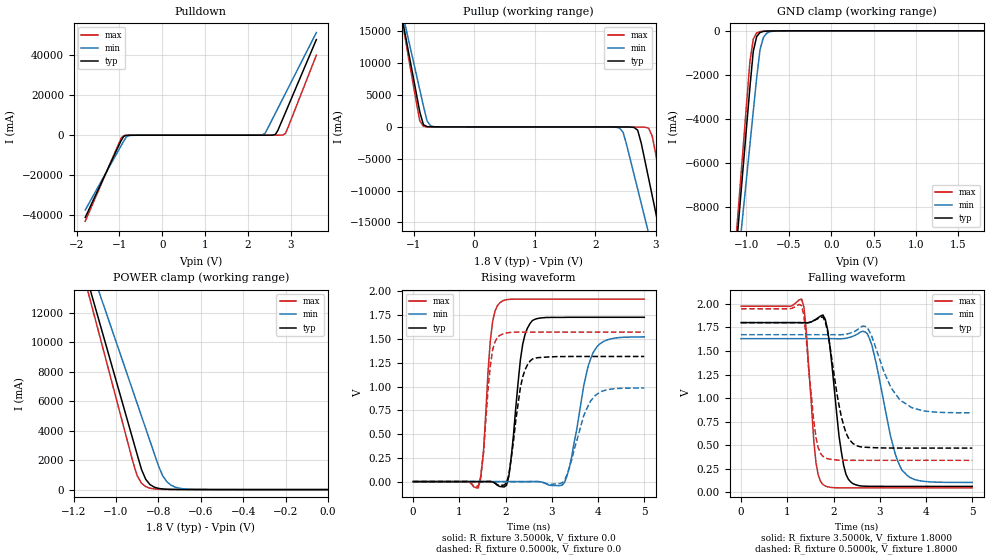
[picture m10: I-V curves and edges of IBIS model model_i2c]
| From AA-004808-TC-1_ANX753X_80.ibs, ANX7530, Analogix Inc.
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[Model]  model_i2c
Model_type I/O
Polarity   Non-Inverting
C_comp   2.3000pF   NA   NA
[Temperature Range]   27.0000   100.0000   0.0
[Voltage Range]   1.8000V   1.6200V   1.9800V
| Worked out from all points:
|   slope of the pulldown table from 0 to 0.27 V, typ, clamps not added: 151 ohm
|   slope of the pullup table from 0 to 0.27 V, typ, clamps not added: 162 ohm
|   GND clamp passes 1 mA (typ) near -0.52 V on its own axis
|   POWER clamp passes 1 mA (typ) near -0.46 V on its own axis
|   rising waveform, R_fixture 3.5000k, V_fixture 0.0: 20-80 % time 211ps typ, 343ps min, 153ps max; typ from 0 V to 1.73 V
|   rising waveform, R_fixture 0.5000k, V_fixture 0.0: 20-80 % time 222ps typ, 366ps min, 158ps max; typ from 0 V to 1.32 V
|   falling waveform, R_fixture 3.5000k, V_fixture 1.8000: 20-80 % time 233ps typ, 393ps min, 170ps max; typ from 1.8 V to 0.064 V
|   falling waveform, R_fixture 0.5000k, V_fixture 1.8000: 20-80 % time 277ps typ, 460ps min, 188ps max; typ from 1.8 V to 0.47 V
[GND_clamp]
|Voltage   I(typ)   I(min)   I(max)
-1.8V     -41.12A    -37.43A    -43.07A
-1.12V    -9.872A    -11.29A    -9.268A
-1.08V    -8.044A    -9.764A    -7.295A
-1.04V    -6.22A     -8.236A    -5.327A
-960mV    -2.582A    -5.185A    -1.419A
-920mV    -934.9mA   -3.663A    -373.7mA
-880mV    -262.2mA   -2.143A    -96.81mA
-840mV    -74.85mA   -850.4mA   -33.47mA
-800mV    -26.49mA   -296.9mA   -18.3mA
-760mV    -13.23mA   -101.8mA   -13.28mA
-720mV    -8.602mA   -36.43mA   -10.41mA
1.8V      80.55pA    1.559uA    -343.9pA
[POWER_clamp]
|Voltage   I(typ)   I(min)   I(max)
-1.8V     47.86A     43.79A     49.88A
-1.14V    14.49A     15.95A     13.86A
-1.12V    13.48A     15.11A     12.77A
-1.1V     12.47A     14.27A     11.68A
-1.08V    11.46A     13.42A     10.59A
-1.06V    10.45A     12.58A     9.498A
-920mV    3.374A     6.68A      1.858A
-900mV    2.363A     5.837A     932.5mA
-860mV    698.8mA    4.15A      200.8mA
-780mV    42.56mA    941.8mA    17.18mA
-720mV    9.978mA    163.4mA    9.221mA
0V        80.55pA    853.5pA    76.54pA
[Pulldown]
|Voltage   I(typ)   I(min)   I(max)
-1.8V     -41.12A    -37.43A    -43.08A
-960mV    -2.588A    -5.189A    -1.426A
-900mV    -506.2mA   -2.906A    -195.3mA
-840mV    -81.29mA   -854.3mA   -41.48mA
-720mV    -14.36mA   -40.27mA   -17.51mA
2.34V     5.808mA    165.4mA    5.824mA
2.4V      7.098mA    943.8mA    6.433mA
2.64V     347.4mA    10.9A      12.24mA
2.7V      2.367A     13.43A     14.74mA
2.82V     8.433A     18.49A     99.6mA
2.88V     11.46A     21.02A     938mA
3.6V      47.86A     51.38A     40.06A
[Pullup]
|Voltage   I(typ)   I(min)   I(max)
-1.8V     47.87A     43.8A      49.89A
-1.2V     17.53A     18.49A     17.14A
-1.14V    14.5A      15.96A     13.87A
-900mV    2.368A     5.841A     939.2mA
-840mV    349.4mA    3.31A      101.3mA
-660mV    10.2mA     32.31mA    12.82mA
2.4V      -7.253mA   -176.1mA   -6.56mA
2.7V      -504.2mA   -9.767A    -16.87mA
2.88V     -8.049A    -16.66A    -193.6mA
3.06V     -16.29A    -23.58A    -7.302A
3.24V     -24.56A    -30.5A     -16.2A
3.6V      -41.12A    -44.36A    -34.11A
[Ramp]
| variable   typ   min   max
dV/dt_r  0.1233/0.1438n   73.0200m/0.2140n   0.1844/0.1156n
dV/dt_f  0.1074/0.1798n   60.0000m/0.2567n   0.1632/0.1395n
R_load = 50.0000
[Rising Waveform]
R_fixture= 3.5000k
V_fixture= 0.0
|time   V(typ)   V(min)   V(max)
0s        0V         703.7nV    0V
1.41ns    -19.78uV   692.4nV    -65.26mV
1.67ns    897.2uV    700.8nV    1.486V
1.87ns    -50.97mV   1.211uV    1.878V
2.07ns    55.95mV    2.621uV    1.916V
2.37ns    1.445V     -20.72uV   1.919V
2.58ns    1.694V     488.1uV    1.919V
3.28ns    1.727V     -3.679mV   1.919V
3.99ns    1.728V     1.426V     1.919V
5ns       1.728V     1.522V     1.919V
[Rising Waveform]
R_fixture= 0.5000k
V_fixture= 0.0
|time   V(typ)   V(min)   V(max)
0s        0V         529.5nV    0V
1.41ns    -18.78uV   519.7nV    -44.02mV
1.67ns    790.4uV    528.2nV    1.222V
1.87ns    -41.25mV   974nV      1.536V
2.07ns    73.35mV    2.151uV    1.567V
2.32ns    990.3mV    -12.8uV    1.572V
2.53ns    1.268V     138.4uV    1.573V
3.28ns    1.315V     18.35mV    1.573V
3.94ns    1.316V     905.3mV    1.573V
5ns       1.316V     984.5mV    1.573V
[Falling Waveform]
R_fixture= 3.5000k
V_fixture= 1.8000
|time   V(typ)   V(min)   V(max)
0s        1.8V       1.63V      1.974V
1.31ns    1.799V     1.63V      2.049V
1.41ns    1.798V     1.63V      1.712V
1.62ns    1.836V     1.63V      315.9mV
1.77ns    1.881V     1.63V      84.62mV
2.17ns    428.2mV    1.629V     49.14mV
2.37ns    112.1mV    1.647V     48.88mV
2.78ns    65.31mV    1.628V     48.84mV
3.48ns    64.51mV    235.9mV    48.84mV
5ns       64.5mV     106.6mV    48.84mV
[Falling Waveform]
R_fixture= 0.5000k
V_fixture= 1.8000
|time   V(typ)   V(min)   V(max)
0s        1.8V       1.672V     1.947V
1.31ns    1.799V     1.672V     1.98V
1.36ns    1.799V     1.672V     1.868V
1.62ns    1.832V     1.672V     584.1mV
1.82ns    1.811V     1.672V     366.6mV
2.17ns    800.8mV    1.672V     342mV
2.42ns    518.5mV    1.7V       341mV
2.73ns    478.1mV    1.747V     340.9mV
3.48ns    470.6mV    965.1mV    340.9mV
5ns       470.4mV    844mV      340.9mV
